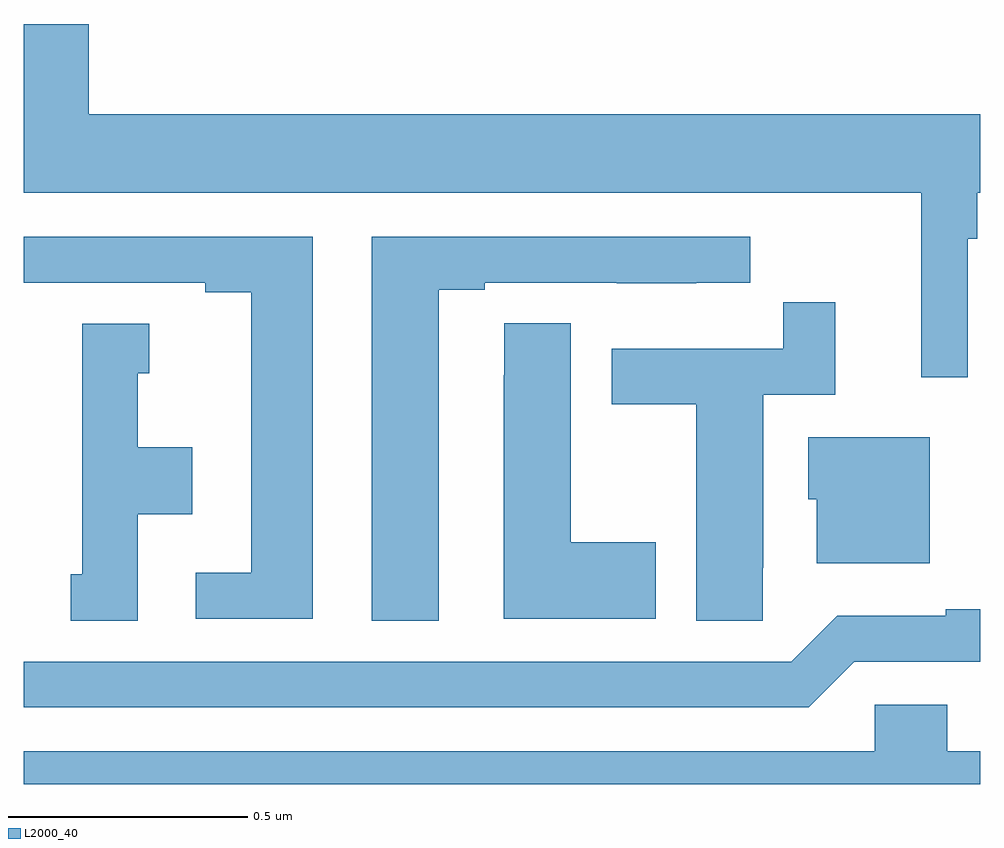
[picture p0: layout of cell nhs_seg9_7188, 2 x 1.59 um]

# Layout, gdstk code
import gdstk
lib = gdstk.Library(unit=1e-6, precision=1e-09)
def P(c, l, *ps):  # polygons
    for p in ps: c.add(gdstk.Polygon(p, *l))
L2000_40 = (2000, 40)

nhs_seg9_7188 = lib.new_cell('nhs_seg9_7188')
P(nhs_seg9_7188, L2000_40, [(201.136,1214.089),(201,1214.089),(201,1213.736),(202.877,1213.736),(202.877,1213.35),(202.974,1213.35),(202.974,1213.64),(202.994,1213.64),(202.994,1213.736),(203,1213.736),(203,1213.9),(201.136,1213.9)],
  [(201.868,1213.533),(201.964,1213.533),(201.964,1213.548),(202.24,1213.548),(202.24,1213.547),(202.406,1213.547),(202.406,1213.548),(202.519,1213.548),(202.519,1213.644),(201.728,1213.644),(201.728,1212.841),(201.868,1212.841)],
  [(201.604,1213.644),(201,1213.644),(201,1213.548),(201.38,1213.548),(201.38,1213.528),(201.476,1213.528),(201.476,1212.942),(201.36,1212.942),(201.36,1212.846),(201.604,1212.846)],
  [(202.545,1212.952),(202.546,1212.952),(202.546,1213.314),(202.697,1213.314),(202.697,1213.507),(202.588,1213.507),(202.588,1213.41),(202.229,1213.41),(202.229,1213.294),(202.406,1213.294),(202.406,1212.841),(202.545,1212.841)],
  [(202.321,1213.005),(202.144,1213.005),(202.144,1213.463),(202.005,1213.463),(202.005,1213.355),(202.004,1213.355),(202.004,1212.845),(202.321,1212.845)],
  [(201.238,1213.064),(201.352,1213.064),(201.352,1213.204),(201.238,1213.204),(201.238,1213.359),(201.262,1213.359),(201.262,1213.462),(201.122,1213.462),(201.122,1212.939),(201.098,1212.939),(201.098,1212.841),(201.238,1212.841)],
  [(202.894,1213.225),(202.64,1213.225),(202.64,1213.095),(202.658,1213.095),(202.658,1212.962),(202.894,1212.962)],
  [(202.737,1212.756),(203,1212.756),(203,1212.865),(202.928,1212.865),(202.928,1212.852),(202.701,1212.852),(202.605,1212.756),(201,1212.756),(201,1212.66),(202.641,1212.66)],
  [(203,1212.568),(202.931,1212.568),(202.931,1212.666),(202.779,1212.666),(202.779,1212.568),(201,1212.568),(201,1212.5),(203,1212.5)])

lib.write_gds('nhs_seg9_7188.gds')
